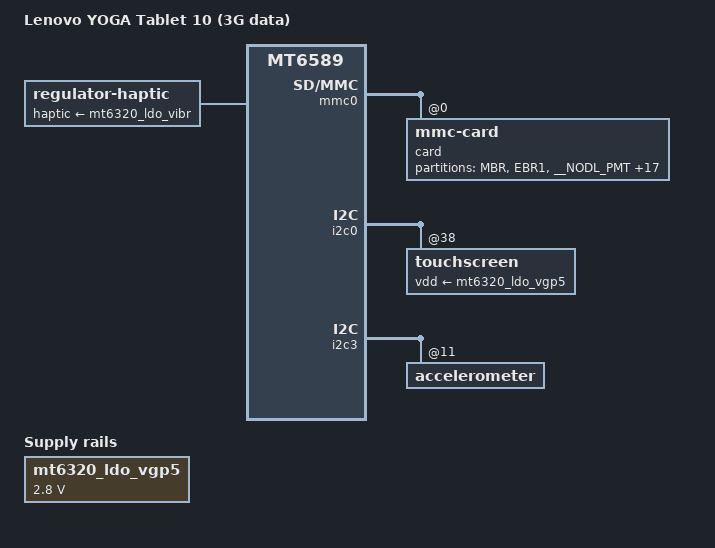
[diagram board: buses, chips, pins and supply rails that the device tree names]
// SPDX-License-Identifier: (GPL-2.0-only OR BSD-2-Clause)
/*
 * Lenovo YOGA Tablet 10 B8000-H (3G data)
 *
 * Copyright (c) 2026 Mikhail Nevskiy <trudenboy0@gmail.com>
 */

#include "mt6589-lenovo-b8000.dtsi"

/ {
	model = "Lenovo YOGA Tablet 10 (3G data)";
	compatible = "lenovo,b8000-h", "mediatek,mt6589";

	/* Vibration motor on the MT6320 VIBR LDO. */
	haptic {
		compatible = "regulator-haptic";
		haptic-supply = <&mt6320_ldo_vibr>;
		min-microvolt = <2800000>;
		max-microvolt = <2800000>;
	};
};

/*
 * The B8000-H's eMMC layout starts 0x1e0000 lower than the B8000-F's in
 * mt6589-lenovo-blade.dtsi (read from a B8000-H's own MBR/EBR). The vendor
 * partitions stay read-only.
 */
&mmc0 {
	/delete-node/ card@0;

	card@0 {
		compatible = "mmc-card";
		reg = <0>;

		partitions {
			compatible = "fixed-partitions";
			#address-cells = <2>;
			#size-cells = <2>;

			partition@0 {
				label = "MBR";
				reg = <0x0 0x00000000 0x0 0x00080000>;
				read-only;
			};

			partition@80000 {
				label = "EBR1";
				reg = <0x0 0x00080000 0x0 0x00080000>;
				read-only;
			};

			partition@100000 {
				label = "__NODL_PMT";
				reg = <0x0 0x00100000 0x0 0x00400000>;
				read-only;
			};

			partition@500000 {
				label = "__NODL_PRO_INFO";
				reg = <0x0 0x00500000 0x0 0x00300000>;
				read-only;
			};

			partition@800000 {
				label = "__NODL_NVRAM";
				reg = <0x0 0x00800000 0x0 0x00500000>;
				read-only;
			};

			partition@d00000 {
				label = "__NODL_PROTECT_F";
				reg = <0x0 0x00d00000 0x0 0x00a00000>;
				read-only;
			};

			partition@1700000 {
				label = "__NODL_PROTECT_S";
				reg = <0x0 0x01700000 0x0 0x00a00000>;
				read-only;
			};

			partition@2100000 {
				label = "__NODL_SECCFG";
				reg = <0x0 0x02100000 0x0 0x00020000>;
				read-only;
			};

			partition@2120000 {
				label = "UBOOT";
				reg = <0x0 0x02120000 0x0 0x00060000>;
				read-only;
			};

			partition@2180000 {
				label = "BOOTIMG";
				reg = <0x0 0x02180000 0x0 0x00600000>;
				read-only;
			};

			partition@2780000 {
				label = "RECOVERY";
				reg = <0x0 0x02780000 0x0 0x00600000>;
				read-only;
			};

			partition@2d80000 {
				label = "SEC_RO";
				reg = <0x0 0x02d80000 0x0 0x00600000>;
				read-only;
			};

			partition@3380000 {
				label = "__NODL_MISC";
				reg = <0x0 0x03380000 0x0 0x00080000>;
				read-only;
			};

			partition@3400000 {
				label = "LOGO";
				reg = <0x0 0x03400000 0x0 0x00300000>;
				read-only;
			};

			partition@3700000 {
				label = "EBR2";
				reg = <0x0 0x03700000 0x0 0x00080000>;
				read-only;
			};

			partition@3780000 {
				label = "__NODL_EXPDB";
				reg = <0x0 0x03780000 0x0 0x00a00000>;
				read-only;
			};

			partition@4180000 {
				label = "FAC";
				reg = <0x0 0x04180000 0x0 0x0c800000>;
				read-only;
			};

			partition@10980000 {
				label = "ANDROID";
				reg = <0x0 0x10980000 0x0 0x40000000>;
				read-only;
			};

			partition@50980000 {
				label = "CACHE";
				reg = <0x0 0x50980000 0x0 0x07e00000>;
				read-only;
			};

			partition@58780000 {
				label = "USRDATA";
				reg = <0x0 0x58780000 0x3 0x49fa0000>;
			};
		};
	};
};

/*
 * Touch: the stock S7300 driver of the B8000-H powers the panel from VGP5 at
 * 2.8 V. VGP4 stays on as well: it has not been shown that nothing else on
 * this board needs it.
 */
&mt6320_ldo_vgp5 {
	regulator-min-microvolt = <2800000>;
	regulator-max-microvolt = <2800000>;
};

&mt6320_ldo_vgp4 {
	regulator-always-on;
};

&i2c0 {
	touchscreen@38 {
		vdd-supply = <&mt6320_ldo_vgp5>;
	};
};

/* The stock accelerometer configuration (direction 3) for this board. */
&i2c3 {
	accelerometer@11 {
		mount-matrix = "0", "-1", "0",
			       "1", "0", "0",
			       "0", "0", "1";
	};
};

/*
 * No BQ27541 on the B8000-H: the stock build has MTK_BQ27541_SUPPORT=no and
 * nothing answers at 0x55. The stock kernel computes the charge from the
 * MT6320 AUXADC. Without a fuel gauge, the charger's own battery supply has
 * no capacity, so leave it out.
 */
&bq27541 {
	status = "disabled";
};

&bq24196 {
	omit-battery-class;
};

